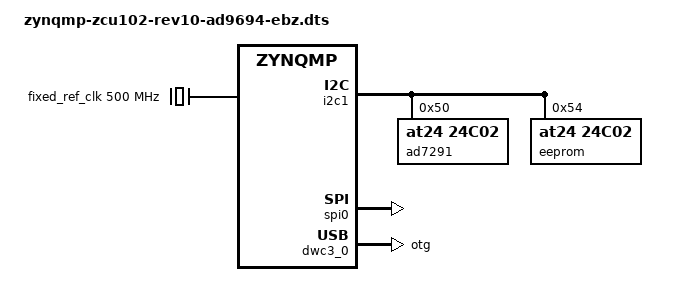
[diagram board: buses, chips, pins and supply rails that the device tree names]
/*
 * dts file for AD9694 on Xilinx ZynqMP ZCU102 Rev 1.0
 *
 * Copyright (C) 2016-2021 Analog Devices Inc.
 *
 * Licensed under the GPL-2.
 */

#include "zynqmp-zcu102-rev1.0.dts"

#define REFCLK 500000000

/ {
	clocks {
		fixed_ref_clk: clock@2 {
			#clock-cells = <0>;
			compatible = "fixed-clock";
			clock-frequency = <REFCLK>;
			clock-output-names = "ref_clk";
		};
	};
};

&i2c1 {
	i2c-mux@75 {
		i2c@0 {
			#address-cells = <1>;
			#size-cells = <0>;
			reg = <0>;
			/* HPC0_IIC */
			ad7291@50 {
				compatible = "at24,24c02";
				reg = <0x50>;
			};
			eeprom@54 {
				compatible = "at24,24c02";
				reg = <0x54>;
			};
		};
	};
};

/ {
	fpga_axi: fpga-axi@0 {
		interrupt-parent = <&gic>;
		compatible = "simple-bus";
		#address-cells = <0x1>;
		#size-cells = <0x1>;
		ranges = <0 0 0 0xffffffff>;

		rx_dma: dma@9c400000 {
			compatible = "adi,axi-dmac-1.00.a";
			reg = <0x9c400000 0x10000>;
			#dma-cells = <1>;
			#clock-cells = <0>;
			interrupts = <0 109 4>;
			clocks = <&clk 71>;

			adi,channels {
				#size-cells = <0>;
				#address-cells = <1>;

				dma-channel@0 {
					reg = <0>;
					adi,source-bus-width = <128>;
					adi,source-bus-type = <2>;
					adi,destination-bus-width = <128>;
					adi,destination-bus-type = <0>;
				};
			};
		};
	
		axi_ad9694_core: axi-ad9694-hpc@84a10000 {
			compatible = "adi,axi-ad9694-1.0";
			reg = <0x84a10000 0x10000>;
			dmas = <&rx_dma 0>;
			dma-names = "rx";
			spibus-connected = <&ad9694>;
		};
	
		axi_ad9694_rx_jesd: axi-jesd204-rx@84aa0000 {
			compatible = "adi,axi-jesd204-rx-1.0";
			reg = <0x84aa0000 0x1000>;
	
			interrupts = <0 107 4>;
	
			clocks = <&clk 71>, <&axi_ad9694_adxcvr 1>, <&axi_ad9694_adxcvr 0>;
			clock-names = "s_axi_aclk", "device_clk", "lane_clk";
	
			adi,octets-per-frame = <2>;
			adi,frames-per-multiframe = <32>;
			adi,converter-resolution = <16>;
			adi,bits-per-sample = <16>;
			adi,converters-per-device = <4>;
			adi,subclass = <0>;
	
			#clock-cells = <0>;
			clock-output-names = "jesd_adc_lane_clk";
		};
	
		axi_ad9694_adxcvr: axi-ad9694-adxcvr@84a50000 {
			compatible = "adi,axi-adxcvr-1.0";
			reg = <0x84a50000 0x1000>;
	
			clocks = <&fixed_ref_clk>;
			clock-names = "conv";
	
			#clock-cells = <1>;
			clock-output-names = "adc_gt_clk", "rx_out_clk";
	
			adi,sys-clk-select = <3>;
			adi,out-clk-select = <4>;
			adi,use-lpm-enable;
		};

		axi_sysid_0: axi-sysid-0@85000000 {
			compatible = "adi,axi-sysid-1.00.a";
			reg = <0x85000000 0x10000>;
		};
	};
};

&spi0 {
	status = "okay";
};

&dwc3_0 {
	status = "okay";
	dr_mode = "otg";
};

#define fmc_spi spi0

#include "adi-ad9694-ebz.dtsi"
